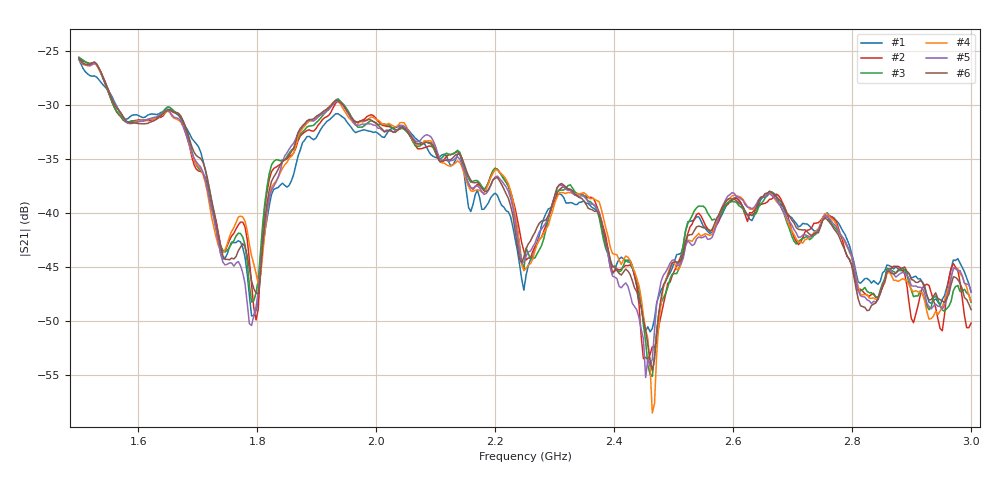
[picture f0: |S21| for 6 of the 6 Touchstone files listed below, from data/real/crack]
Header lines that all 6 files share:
# HZ S RI R 50
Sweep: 1.5 GHz to 3 GHz
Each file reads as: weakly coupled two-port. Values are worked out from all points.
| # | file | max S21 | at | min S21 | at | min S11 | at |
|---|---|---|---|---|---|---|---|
| 1 | Crack_090.s2p | -25.82 dB | 1.5 GHz | -51.0 dB | 2.46 GHz | -38.5 dB | 2.23 GHz |
| 2 | Crack_091.s2p | -25.65 dB | 1.5 GHz | -53.5 dB | 2.457 GHz | -39.8 dB | 2.23 GHz |
| 3 | Crack_093.s2p | -25.61 dB | 1.5 GHz | -55.1 dB | 2.464 GHz | -39.6 dB | 2.23 GHz |
| 4 | Crack_095.s2p | -25.84 dB | 1.5 GHz | -58.5 dB | 2.464 GHz | -40.3 dB | 2.23 GHz |
| 5 | Crack_098.s2p | -25.81 dB | 1.5 GHz | -55.2 dB | 2.453 GHz | -38.5 dB | 2.23 GHz |
| 6 | Crack_099.s2p | -25.68 dB | 1.5 GHz | -54.6 dB | 2.464 GHz | -39.9 dB | 2.23 GHz |
